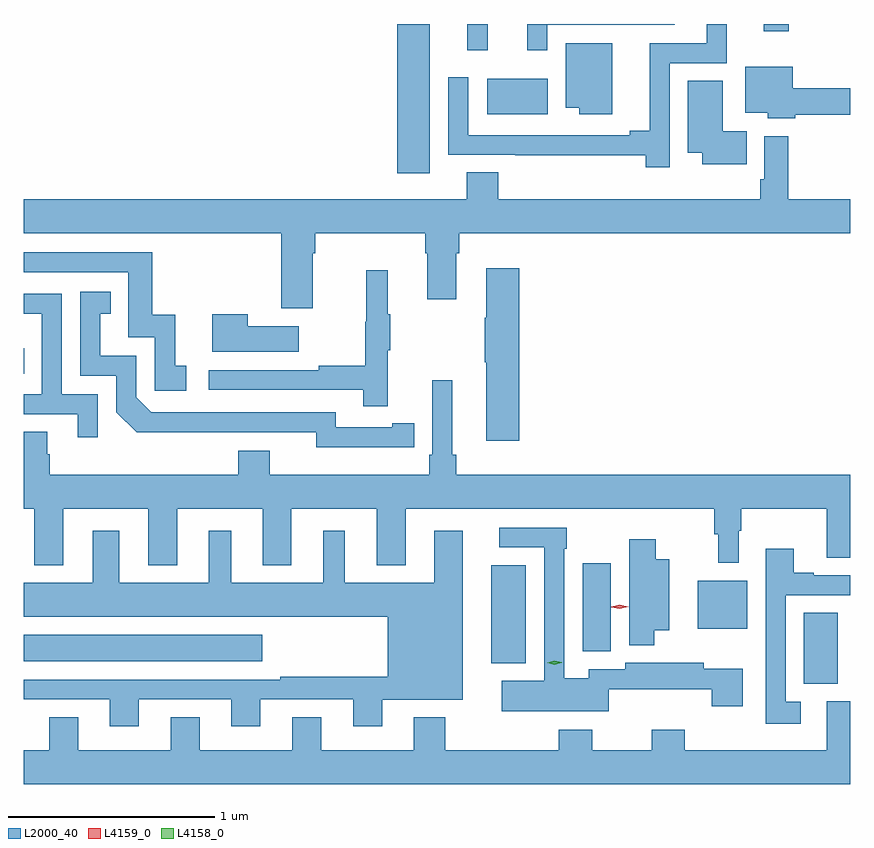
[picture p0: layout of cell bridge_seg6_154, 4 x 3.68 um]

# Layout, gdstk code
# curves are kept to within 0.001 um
import gdstk
lib = gdstk.Library(unit=1e-6, precision=1e-09)
def R(c, l, rs):  # rectangles x0, y0, x1, y1
    for r in rs: c.add(gdstk.rectangle(r[:2], r[2:], *l))
def P(c, l, *ps):  # polygons
    for p in ps: c.add(gdstk.Polygon(p, *l))
L2000_40 = (2000, 40)
L4158_0 = (4158, 0)
L4159_0 = (4159, 0)

bridge_seg6_154 = lib.new_cell('bridge_seg6_154')
R(bridge_seg6_154, L2000_40, [(580.238,990.445,580.402,990.788), (578.726,990.545,578.893,991.019), (576.463,990.554,577.618,990.682), (579.167,990.601,579.304,991.027), (579.725,990.71,579.964,990.943), (576.463,991.944,576.467,992.067), (578.27,992.913,578.428,993.636), (578.705,993.2,578.998,993.37), (578.609,993.51,578.708,993.636), (580.043,993.6,580.165,993.636)])
P(bridge_seg6_154, L2000_40, [(578.997,993.633),(579.613,993.633),(579.613,993.636),(578.9,993.636),(578.9,993.51),(578.997,993.51)],
  [(579.588,993.447),(579.865,993.447),(579.865,993.636),(579.767,993.636),(579.767,993.543),(579.491,993.543),(579.491,993.119),(579.395,993.119),(579.395,993.099),(578.613,993.099),(578.613,993.379),(578.517,993.379),(578.517,993.003),(578.842,993.003),(578.842,993.002),(579.472,993.002),(579.472,992.943),(579.588,992.943)],
  [(579.31,993.544),(579.086,993.544),(579.086,993.23),(579.152,993.23),(579.152,993.2),(579.31,993.2)],
  [(580.196,993.198),(580.463,993.198),(580.463,993.326),(580.183,993.326),(580.183,993.43),(579.953,993.43),(579.953,993.206),(580.062,993.206),(580.062,993.179),(580.196,993.179)],
  [(579.962,993.118),(579.844,993.118),(579.844,993.362),(579.677,993.362),(579.677,993.014),(579.746,993.014),(579.746,992.957),(579.962,992.957)],
  [(577.861,992.528),(577.874,992.528),(577.874,992.624),(578.405,992.624),(578.405,992.528),(578.417,992.528),(578.417,992.304),(578.557,992.304),(578.557,992.528),(578.57,992.528),(578.57,992.624),(580.463,992.624),(580.463,992.788),(580.163,992.788),(580.163,993.094),(580.047,993.094),(580.047,992.884),(580.027,992.884),(580.027,992.788),(578.759,992.788),(578.759,992.918),(578.606,992.918),(578.606,992.788),(576.463,992.788),(576.463,992.624),(577.709,992.624),(577.709,992.262),(577.861,992.262)],
  [(577.249,991.983),(577.196,991.983),(577.196,992.23),(577.085,992.23),(577.085,992.532),(576.463,992.532),(576.463,992.436),(576.969,992.436),(576.969,992.121),(577.098,992.121),(577.098,991.863),(577.249,991.863)],
  [(578.861,992.455),(578.702,992.455),(578.702,992.216),(578.695,992.216),(578.695,991.999),(578.702,991.999),(578.702,991.62),(578.861,991.62)],
  [(578.225,992.059),(578.236,992.059),(578.236,992.233),(578.225,992.233),(578.225,992.446),(578.122,992.446),(578.122,992.196),(578.115,992.196),(578.115,991.982),(577.891,991.982),(577.891,991.962),(577.359,991.962),(577.359,991.866),(578.107,991.866),(578.107,991.788),(578.225,991.788)],
  [(578.246,991.59),(578.354,991.59),(578.354,991.706),(578.246,991.706),(578.246,991.686),(577.974,991.686),(577.974,991.758),(577.08,991.758),(577.008,991.83),(577.008,992.031),(576.835,992.031),(576.835,992.235),(576.884,992.235),(576.884,992.341),(576.738,992.341),(576.738,991.935),(576.912,991.935),(576.912,991.758),(577.01,991.661),(577.878,991.662),(577.878,991.589)],
  [(576.822,991.845),(576.648,991.845),(576.648,992.331),(576.463,992.331),(576.463,992.234),(576.552,992.234),(576.552,991.845),(576.463,991.845),(576.463,991.749),(576.725,991.749),(576.725,991.638),(576.822,991.638)],
  [(577.795,992.173),(577.547,992.173),(577.547,992.233),(577.376,992.233),(577.376,992.051),(577.795,992.051)],
  [(576.655,991.292),(577.067,991.292),(577.067,991.019),(577.207,991.019),(577.207,991.292),(577.619,991.292),(577.619,991.019),(577.759,991.019),(577.759,991.292),(578.171,991.292),(578.171,991.019),(578.311,991.019),(578.311,991.292),(579.805,991.292),(579.805,991.169),(579.823,991.169),(579.823,991.029),(579.922,991.029),(579.922,991.186),(579.934,991.186),(579.934,991.292),(580.349,991.292),(580.349,991.054),(580.463,991.054),(580.463,991.456),(578.555,991.456),(578.555,991.552),(578.536,991.552),(578.536,991.912),(578.439,991.912),(578.439,991.552),(578.426,991.552),(578.426,991.456),(577.654,991.456),(577.654,991.573),(577.502,991.573),(577.502,991.456),(576.59,991.456),(576.59,991.554),(576.577,991.554),(576.577,991.664),(576.463,991.664),(576.463,991.292),(576.515,991.292),(576.515,991.019),(576.655,991.019)],
  [(579.294,990.419),(579.791,990.419),(579.791,990.336),(579.943,990.336),(579.943,990.518),(579.754,990.518),(579.754,990.547),(579.374,990.547),(579.374,990.516),(579.198,990.516),(579.198,990.472),(579.078,990.472),(579.078,991.097),(579.091,991.097),(579.091,991.2),(578.763,991.2),(578.763,991.104),(578.982,991.104),(578.982,990.46),(578.775,990.46),(578.775,990.311),(579.294,990.311)],
  [(577.021,990.369),(577.469,990.369),(577.469,990.24),(577.609,990.24),(577.609,990.369),(578.057,990.369),(578.057,990.24),(578.197,990.24),(578.197,990.368),(578.587,990.368),(578.587,991.186),(578.45,991.186),(578.45,990.934),(578.017,990.934),(578.017,991.186),(577.913,991.186),(577.913,990.934),(577.468,990.934),(577.468,991.186),(577.358,991.186),(577.358,990.934),(576.925,990.934),(576.925,991.186),(576.797,991.186),(576.797,990.934),(576.463,990.934),(576.463,990.77),(578.225,990.77),(578.225,990.478),(577.705,990.478),(577.705,990.465),(576.463,990.465),(576.463,990.369),(576.881,990.369),(576.881,990.24),(577.021,990.24)],
  [(579.514,990.704),(579.586,990.704),(579.586,991.048),(579.522,991.048),(579.522,991.144),(579.392,991.144),(579.392,990.632),(579.514,990.632)],
  [(580.222,990.357),(580.149,990.357),(580.149,990.873),(580.463,990.873),(580.463,990.969),(580.285,990.969),(580.285,990.982),(580.189,990.982),(580.189,991.099),(580.053,991.099),(580.053,990.252),(580.222,990.252)],
  [(580.463,990.36),(580.349,990.36),(580.349,990.124),(579.662,990.124),(579.662,990.223),(579.502,990.223),(579.502,990.124),(579.213,990.124),(579.213,990.223),(579.053,990.223),(579.053,990.124),(578.504,990.124),(578.504,990.283),(578.351,990.283),(578.351,990.124),(577.903,990.124),(577.903,990.284),(577.763,990.284),(577.763,990.124),(577.315,990.124),(577.315,990.284),(577.175,990.284),(577.175,990.124),(576.727,990.124),(576.727,990.284),(576.587,990.284),(576.587,990.124),(576.463,990.124),(576.463,989.96),(580.463,989.96)])
P(bridge_seg6_154, L4158_0, [(579.031,990.537),(578.996,990.546),(578.996,990.546),(578.996,990.546),(579.031,990.557),(579.066,990.548),(579.066,990.547),(579.066,990.547)])
P(bridge_seg6_154, L4159_0, [(579.348,990.807),(579.307,990.816),(579.307,990.816),(579.307,990.817),(579.347,990.827),(579.388,990.818),(579.388,990.818),(579.388,990.818)])

lib.write_gds('bridge_seg6_154.gds')
